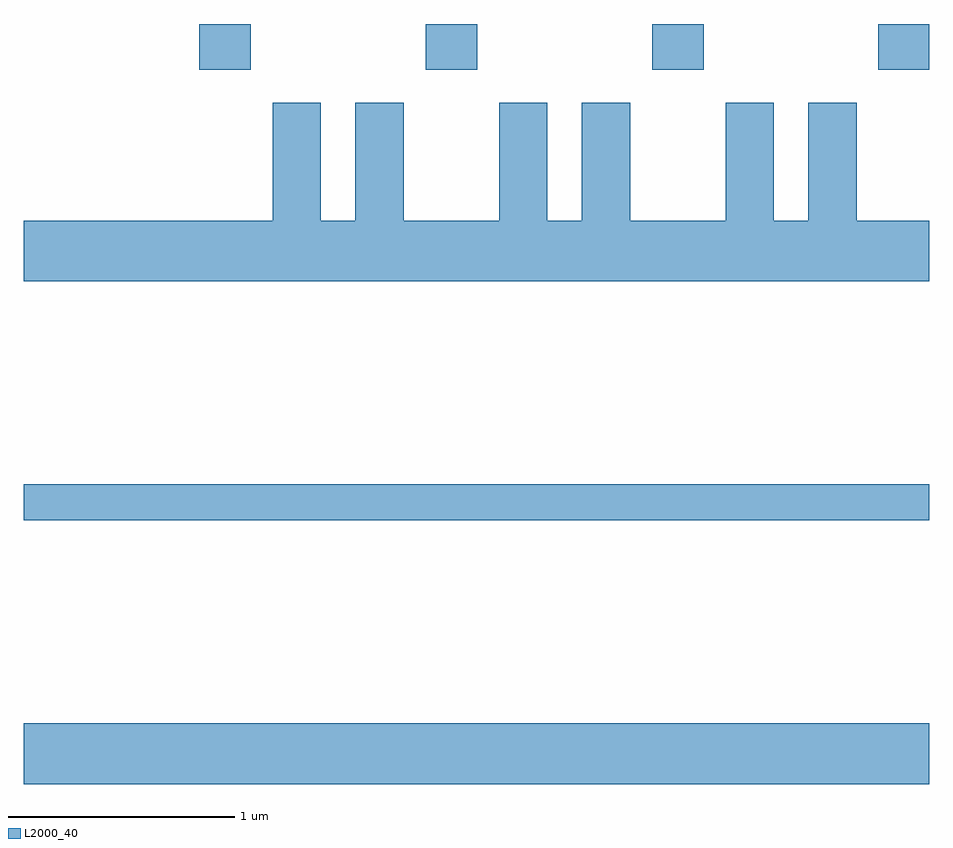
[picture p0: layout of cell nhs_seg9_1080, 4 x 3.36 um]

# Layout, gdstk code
import gdstk
lib = gdstk.Library(unit=1e-6, precision=1e-09)
def R(c, l, rs):  # rectangles x0, y0, x1, y1
    for r in rs: c.add(gdstk.rectangle(r[:2], r[2:], *l))
def A(c, l, x, y, w, h, nx, ny, dx, dy):  # array of equal rectangles
    R(c, l, [(x+i*dx, y+j*dy, x+i*dx+w, y+j*dy+h) for i in range(nx) for j in range(ny)])
def P(c, l, *ps):  # polygons
    for p in ps: c.add(gdstk.Polygon(p, *l))
L2000_40 = (2000, 40)

nhs_seg9_1080 = lib.new_cell('nhs_seg9_1080')
A(nhs_seg9_1080, L2000_40, 216.386, 2068.231, 0.228, 0.201, 3, 1, 1, 0)
R(nhs_seg9_1080, L2000_40, [(215.611,2065.076,219.611,2065.344), (215.611,2066.241,219.611,2066.399), (219.386,2068.231,219.611,2068.432)])
P(nhs_seg9_1080, L2000_40, [(219.611,2067.564),(219.289,2067.564),(219.289,2068.084),(219.076,2068.084),(219.076,2067.564),(218.924,2067.564),(218.924,2068.084),(218.711,2068.084),(218.711,2067.564),(218.289,2067.564),(218.289,2068.084),(218.076,2068.084),(218.076,2067.564),(217.924,2067.564),(217.924,2068.084),(217.711,2068.084),(217.711,2067.564),(217.289,2067.564),(217.289,2068.084),(217.076,2068.084),(217.076,2067.564),(216.924,2067.564),(216.924,2068.084),(216.711,2068.084),(216.711,2067.564),(215.611,2067.564),(215.611,2067.296),(219.611,2067.296)])

lib.write_gds('nhs_seg9_1080.gds')
